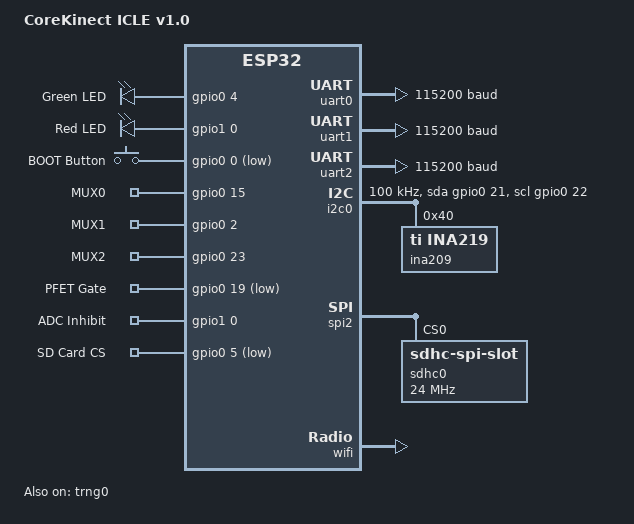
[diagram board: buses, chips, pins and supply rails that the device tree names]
/*
 * SPDX-License-Identifier: Apache-2.0
 * CoreKinect ICLE v1.0 - In-Circuit Loop-back Equipment
 *
 * Hardware: ESP32-WROOM-32 based test fixture
 * Peripherals:
 *   - INA209AIPW current monitor (I2C @ 0x40)
 *   - TPS63021DSJ voltage regulator
 *   - Micro SD card (SPI)
 *   - CP2102N USB-UART converter
 *   - 2x NTB0104BQ UART level shifters (DUT UARTs)
 *   - 4-line MUX control
 *   - P-FET gate for power switching
 *   - Status LEDs (Green, Red)
 */
/dts-v1/;

#include <espressif/esp32/esp32_wroom_32ue_n4.dtsi>
#include "icle_v1_0-pinctrl.dtsi"
#include <zephyr/dt-bindings/input/input-event-codes.h>

/ {
	model = "CoreKinect ICLE v1.0";
	compatible = "corekinect,icle-v1-0", "espressif,esp32";

	aliases {
		uart-0 = &uart0;
		uart-1 = &uart1;
		uart-2 = &uart2;
		i2c-0 = &i2c0;
		watchdog0 = &wdt0;
		led0 = &led_green;
		led1 = &led_red;
		sw0 = &button_boot;
	};

	chosen {
		zephyr,sram = &sram0;
		zephyr,console = &uart0;
		zephyr,shell-uart = &uart0;
		zephyr,flash = &flash0;
		zephyr,code-partition = &slot0_partition;
	};

	leds {
		compatible = "gpio-leds";

		led_green: led_green {
			gpios = <&gpio0 4 GPIO_ACTIVE_HIGH>;
			label = "Green LED";
		};

		led_red: led_red {
			gpios = <&gpio1 0 GPIO_ACTIVE_HIGH>;  /* GPIO32 area */
			label = "Red LED";
		};
	};

	buttons {
		compatible = "gpio-keys";

		button_boot: button_boot {
			gpios = <&gpio0 0 (GPIO_PULL_UP | GPIO_ACTIVE_LOW)>;
			label = "BOOT Button";
			zephyr,code = <INPUT_KEY_0>;
		};
	};

	/* ICLE-specific GPIO controls */
	icle_controls {
		compatible = "gpio-keys";

		/* MUX control lines */
		mux0: mux0 {
			gpios = <&gpio0 15 GPIO_ACTIVE_HIGH>;
			label = "MUX0";
		};

		mux1: mux1 {
			gpios = <&gpio0 2 GPIO_ACTIVE_HIGH>;
			label = "MUX1";
		};

		mux2: mux2 {
			gpios = <&gpio0 23 GPIO_ACTIVE_HIGH>;
			label = "MUX2";
		};

		/* Power FET gate control */
		pfet_gate: pfet_gate {
			gpios = <&gpio0 19 GPIO_ACTIVE_LOW>;
			label = "PFET Gate";
		};

		/* ADC inhibit */
		adc_inh: adc_inh {
			gpios = <&gpio1 0 GPIO_ACTIVE_HIGH>;  /* GPIO32 */
			label = "ADC Inhibit";
		};
	};

	/* SD Card chip select */
	sdhc0_cs: sdhc0_cs {
		compatible = "gpio-keys";
		sd_cs: sd_cs {
			gpios = <&gpio0 5 GPIO_ACTIVE_LOW>;
			label = "SD Card CS";
		};
	};
};

&cpu0 {
	clock-frequency = <ESP32_CLK_CPU_240M>;
	cpu-power-states = <&light_sleep &deep_sleep>;
};

&cpu1 {
	clock-frequency = <ESP32_CLK_CPU_240M>;
};

/* Console UART via CP2102N USB-UART */
&uart0 {
	status = "okay";
	current-speed = <115200>;
	pinctrl-0 = <&uart0_default>;
	pinctrl-names = "default";
};

/* DUT UART 1 via NTB0104BQ level shifter */
&uart1 {
	status = "okay";
	current-speed = <115200>;
	pinctrl-0 = <&uart1_default>;
	pinctrl-names = "default";
};

/* DUT UART 2 via NTB0104BQ level shifter */
&uart2 {
	status = "okay";
	current-speed = <115200>;
	pinctrl-0 = <&uart2_default>;
	pinctrl-names = "default";
};

&gpio0 {
	status = "okay";
};

&gpio1 {
	status = "okay";
};

/* I2C bus for INA209 current monitor */
&i2c0 {
	status = "okay";
	clock-frequency = <I2C_BITRATE_STANDARD>;
	sda-gpios = <&gpio0 21 GPIO_OPEN_DRAIN>;
	scl-gpios = <&gpio0 22 GPIO_OPEN_DRAIN>;
	pinctrl-0 = <&i2c0_default>;
	pinctrl-names = "default";

	/* INA209AIPW current/power monitor */
	ina209: ina209@40 {
		compatible = "ti,ina219";  /* Compatible driver */
		reg = <0x40>;
		brng = <0>;       /* 16V bus voltage range */
		pg = <3>;         /* +-320mV shunt voltage range */
		sadc = <13>;      /* 12-bit, 532us */
		badc = <13>;      /* 12-bit, 532us */
		shunt-resistor = <100000>;  /* 100 mOhm in micro-ohms */
	};
};

/* SPI for SD Card */
&spi2 {
	#address-cells = <1>;
	#size-cells = <0>;
	status = "okay";
	pinctrl-0 = <&spim2_default>;
	pinctrl-names = "default";

	sdhc0: sdhc@0 {
		compatible = "zephyr,sdhc-spi-slot";
		reg = <0>;
		spi-max-frequency = <24000000>;
		status = "okay";
		mmc {
			compatible = "zephyr,sdmmc-disk";
			status = "okay";
		};
	};
};

&trng0 {
	status = "okay";
};

/* WiFi - ESP32 built-in */
&wifi {
	status = "okay";
};

&flash0 {
	status = "okay";
	partitions {
		compatible = "fixed-partitions";
		#address-cells = <1>;
		#size-cells = <1>;

		/* Reserve 60kB for the bootloader */
		boot_partition: partition@1000 {
			label = "mcuboot";
			reg = <0x00001000 0x0000F000>;
			read-only;
		};

		/* Reserve 1024kB for the application in slot 0 */
		slot0_partition: partition@10000 {
			label = "image-0";
			reg = <0x00010000 0x00100000>;
		};

		/* Reserve 1024kB for the application in slot 1 */
		slot1_partition: partition@110000 {
			label = "image-1";
			reg = <0x00110000 0x00100000>;
		};

		/* Reserve 256kB for the scratch partition */
		scratch_partition: partition@210000 {
			label = "image-scratch";
			reg = <0x00210000 0x00040000>;
		};

		storage_partition: partition@250000 {
			label = "storage";
			reg = <0x00250000 0x00006000>;
		};
	};
};
